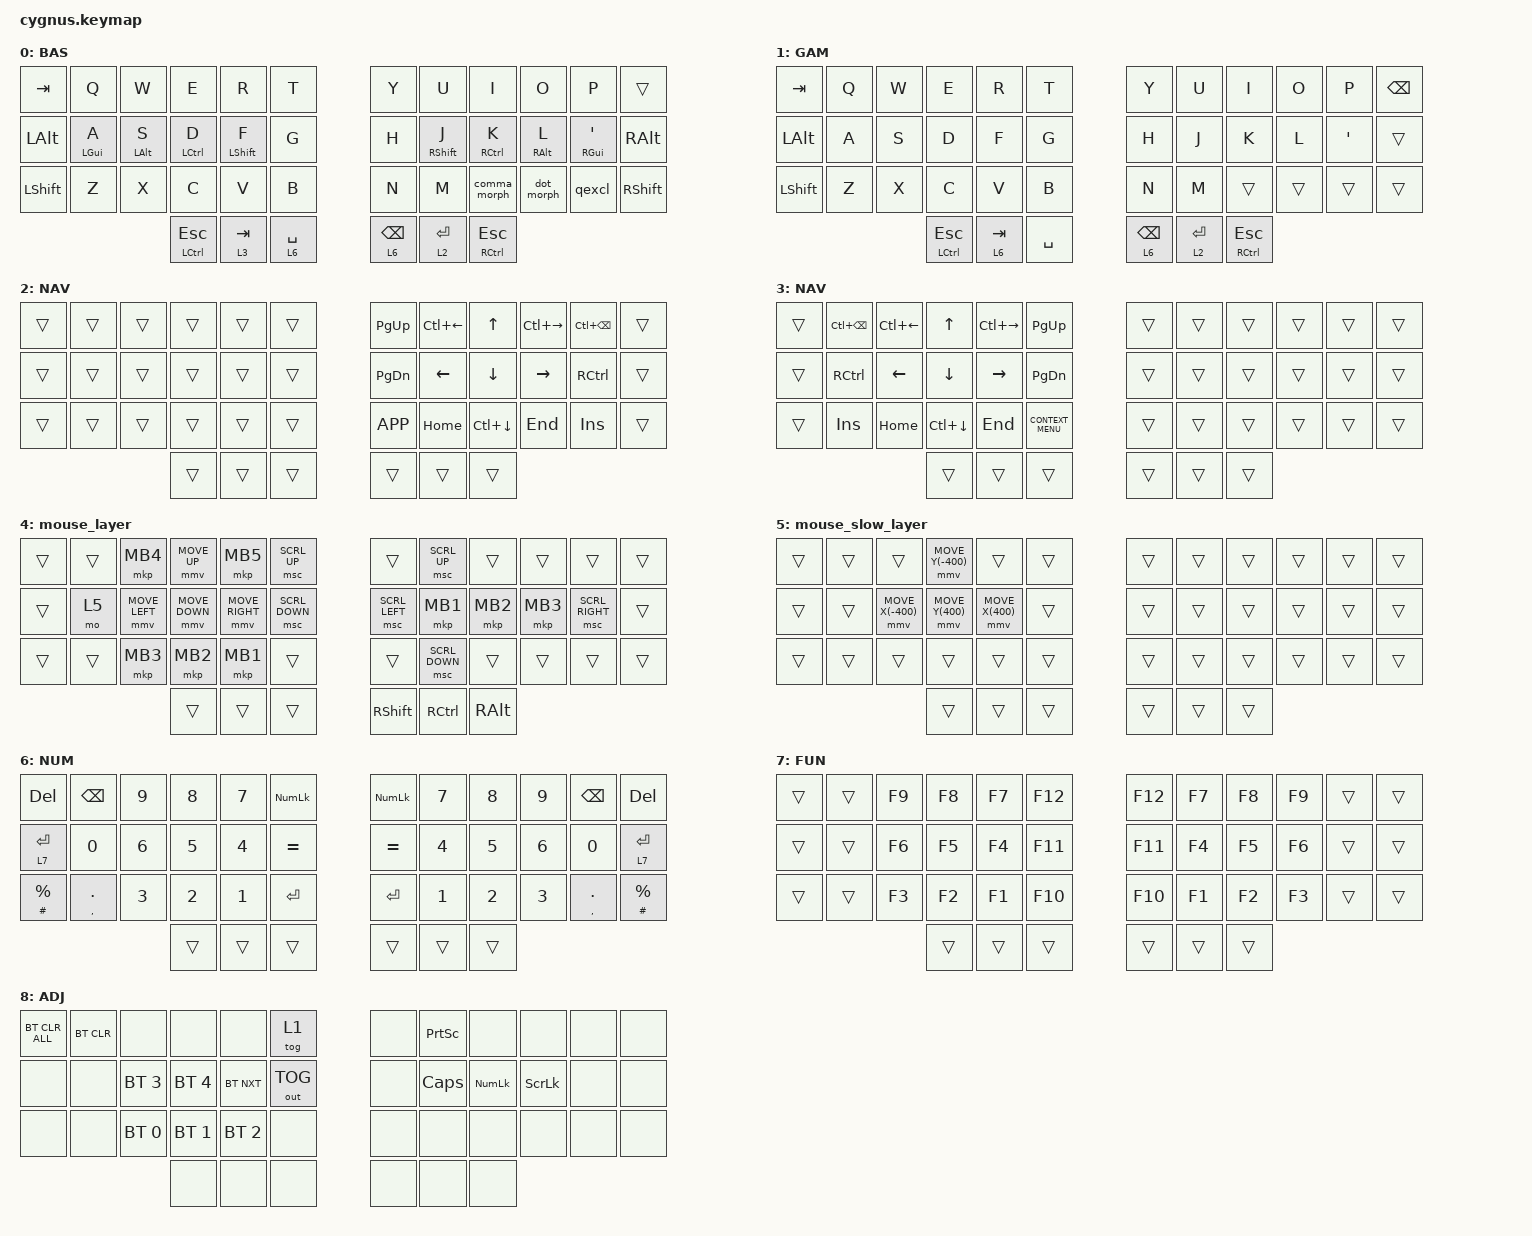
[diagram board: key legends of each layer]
/*
 * Copyright (c) 2020 The ZMK Contributors
 *
 * SPDX-License-Identifier: MIT
 */

#include <behaviors.dtsi>
#include <dt-bindings/zmk/bt.h>
#include <dt-bindings/zmk/keys.h>
#include <dt-bindings/zmk/outputs.h>
#include <dt-bindings/zmk/pointing.h>

/ {
    behaviors {
        hml: homerow_mods_left {
            compatible = "zmk,behavior-hold-tap";
            label = "HOMEROW_MODS_LEFT";
            bindings = <&kp>, <&kp>;

            #binding-cells = <2>;
            tapping-term-ms = <150>;
            hold-trigger-key-positions = <6 7 8 9 10 11 18 19 20 22 23 30 31 32 33 34 35 40 41 39 21>;
            flavor = "tap-preferred";
        };

        hmr: homerow_mods_right {
            compatible = "zmk,behavior-hold-tap";
            label = "HOMEROW_MODS_RIGHT";
            bindings = <&kp>, <&kp>;

            #binding-cells = <2>;
            tapping-term-ms = <150>;
            hold-trigger-key-positions = <0 1 2 3 4 5 12 13 14 15 16 17 24 25 26 27 28 29 36 37 38>;
            flavor = "tap-preferred";
        };

        layer_tap_quick: layer_tap_quick {
            compatible = "zmk,behavior-hold-tap";
            label = "LAYER_TAP_QUICK";
            bindings = <&mo>, <&kp>;

            #binding-cells = <2>;
            tapping-term-ms = <200>;
            quick-tap-ms = <200>;
            flavor = "tap-preferred";
        };

        qexcl: qexcl {
            compatible = "zmk,behavior-mod-morph";
            label = "QEXCL";
            bindings = <&kp QUESTION>, <&kp EXCLAMATION>;

            #binding-cells = <0>;
            mods = <(MOD_LSFT|MOD_RSFT)>;
        };

        comma_morph: comma_morph {
            compatible = "zmk,behavior-mod-morph";
            label = "COMMA_MORPH";
            bindings = <&kp COMMA>, <&kp SEMI>;

            #binding-cells = <0>;
            mods = <(MOD_LSFT|MOD_RSFT)>;
        };

        dot_morph: dot_morph {
            compatible = "zmk,behavior-mod-morph";
            label = "DOT_MORPH";
            bindings = <&kp PERIOD>, <&kp COLON>;

            #binding-cells = <0>;
            mods = <(MOD_LSFT|MOD_RSFT)>;
        };

        lpar_morph: lpar_morph {
            compatible = "zmk,behavior-mod-morph";
            label = "LPAR_MORPH";
            bindings = <&kp LEFT_PARENTHESIS>, <&kp LESS_THAN>;

            #binding-cells = <0>;
            mods = <(MOD_LSFT|MOD_RSFT)>;
        };

        rpar_morph: rpar_morph {
            compatible = "zmk,behavior-mod-morph";
            label = "RPAR_MORPH";
            bindings = <&kp RIGHT_PARENTHESIS>, <&kp GREATER_THAN>;

            #binding-cells = <0>;
            mods = <(MOD_LSFT|MOD_RSFT)>;
        };

        homerow_gui_left: homerow_gui_left {
            compatible = "zmk,behavior-hold-tap";
            label = "HOMEROW_GUI_LEFT";
            bindings = <&kp>, <&kp>;

            #binding-cells = <2>;
            tapping-term-ms = <280>;
            require-prior-idle-ms = <150>;
            flavor = "tap-preferred";
            hold-trigger-key-positions = <6 7 8 9 10 11 18 19 20 21 22 23 30 31 32 33 34 35 39 40 41>;
        };

        homerow_gui_right: homerow_gui_right {
            compatible = "zmk,behavior-hold-tap";
            label = "HOMEROW_GUI_RIGHT";
            bindings = <&kp>, <&kp>;

            #binding-cells = <2>;
            tapping-term-ms = <280>;
            require-prior-idle-ms = <150>;
            flavor = "tap-preferred";
            hold-trigger-key-positions = <0 1 2 3 4 5 12 13 14 15 16 17 24 25 26 27 28 29 36 37 38>;
        };
    };

    combos {
        compatible = "zmk,combos";

        left-num-plus {
            bindings = <&kp PLUS>;
            key-positions = <4 16>;
            layers = <6>;
        };

        left-num-minus {
            bindings = <&kp MINUS>;
            key-positions = <28 16>;
            layers = <6>;
        };

        left-num-multiply {
            bindings = <&kp STAR>;
            key-positions = <15 3>;
            layers = <6>;
        };

        left-num-divide {
            bindings = <&kp SLASH>;
            key-positions = <27 15>;
            layers = <6>;
        };

        left-num-dollar {
            bindings = <&kp DOLLAR>;
            key-positions = <5 17>;
            layers = <6>;
        };

        left-num-underscore {
            bindings = <&kp UNDER>;
            key-positions = <17 29>;
            layers = <6>;
        };

        right-num-dollar {
            bindings = <&kp DOLLAR>;
            key-positions = <6 18>;
            layers = <6>;
        };

        right-num-underscore {
            bindings = <&kp UNDER>;
            key-positions = <18 30>;
            layers = <6>;
        };

        dollar {
            bindings = <&kp DOLLAR>;
            key-positions = <16 4>;
        };

        percent {
            bindings = <&kp PERCENT>;
            key-positions = <17 5>;
        };

        underscore {
            bindings = <&kp UNDER>;
            key-positions = <30 18>;
            layers = <0>;
        };

        caret {
            bindings = <&kp CARET>;
            key-positions = <18 6>;
        };

        tilde {
            bindings = <&kp TILDE>;
            key-positions = <29 17>;
        };

        equal {
            bindings = <&kp EQUAL>;
            key-positions = <28 16>;
        };

        backslash {
            bindings = <&kp BACKSLASH>;
            key-positions = <27 15>;
        };

        pound {
            bindings = <&kp POUND>;
            key-positions = <15 3>;
        };

        at {
            bindings = <&kp AT>;
            key-positions = <14 2>;
        };

        grave {
            bindings = <&kp GRAVE>;
            key-positions = <26 14>;
        };

        plus {
            bindings = <&kp PLUS>;
            key-positions = <19 7>;
        };

        minus {
            bindings = <&kp MINUS>;
            key-positions = <31 19>;
        };

        star {
            bindings = <&kp STAR>;
            key-positions = <20 8>;
        };

        forwardslash {
            bindings = <&kp SLASH>;
            key-positions = <32 20>;
        };

        ampersand {
            bindings = <&kp AMPS>;
            key-positions = <21 9>;
        };

        pipe {
            bindings = <&kp PIPE>;
            key-positions = <21 33>;
        };

        left_parenthesis {
            bindings = <&lpar_morph>;
            key-positions = <19 20>;
        };

        right_parenthesis {
            bindings = <&rpar_morph>;
            key-positions = <20 21>;
        };

        left_bracket {
            bindings = <&kp LEFT_BRACKET>;
            key-positions = <31 32>;
        };

        right_bracket {
            bindings = <&kp RIGHT_BRACKET>;
            key-positions = <32 33>;
        };

        ctrl-alt-del {
            bindings = <&kp LC(LA(DEL))>;
            key-positions = <2 3 4>;
        };

        ctrl-shift-s {
            bindings = <&kp LC(LS(S))>;
            key-positions = <3 4>;
        };

        shift-win-s {
            bindings = <&kp LS(LG(S))>;
            key-positions = <2 3>;
        };

        left-enter {
            bindings = <&kp ENTER>;
            key-positions = <29 38>;
        };

        right-enter {
            bindings = <&kp ENTER>;
            key-positions = <30 39>;
        };

        left-calc {
            bindings = <&kp C_AL_CALC>;
            key-positions = <16 15 14>;
            layers = <6>;
        };

        right-calc {
            bindings = <&kp C_AL_CALC>;
            key-positions = <19 20 21>;
            layers = <6>;
        };
    };

    keymap {
        compatible = "zmk,keymap";

        default_layer {
            display-name = "BAS";

            // -----------------------------------------------------------------------------------------
            // |  TAB |  Q  |  W  |  E  |  R  |  T  |   |  Y  |  U   |  I  |  O  |  P  | BKSP |
            // | CTRL |  A  |  S  |  D  |  F  |  G  |   |  H  |  J   |  K  |  L  |  ;  |  '   |
            // | SHFT |  Z  |  X  |  C  |  V  |  B  |   |  N  |  M   |  ,  |  .  |  /  | ESC  |
            //                    | GUI | LWR | ENT |   | SPC | RSE  | ALT |

            bindings = <
&kp TAB       &kp Q                         &kp W            &kp E             &kp R              &kp T          &kp Y                         &kp U               &kp I             &kp O             &kp P                             &trans
&kp LEFT_ALT  &homerow_gui_left LEFT_GUI A  &hml LEFT_ALT S  &hml LCTRL D      &hml LEFT_SHIFT F  &kp G          &kp H                         &hmr RIGHT_SHIFT J  &hmr RCTRL K      &hmr RIGHT_ALT L  &homerow_gui_right RIGHT_GUI SQT  &kp RIGHT_ALT
&kp LSHFT     &kp Z                         &kp X            &kp C             &kp V              &kp B          &kp N                         &kp M               &comma_morph      &dot_morph        &qexcl                            &kp RIGHT_SHIFT
                                                             &mt LCTRL ESCAPE  &lt 3 TAB          &lt 6 SPACE    &layer_tap_quick 6 BACKSPACE  &lt 2 ENTER         &mt RCTRL ESCAPE
            >;
        };

        game_layer {
            display-name = "GAM";
            bindings = <
&kp TAB       &kp Q  &kp W  &kp E             &kp R      &kp T        &kp Y            &kp U        &kp I             &kp O   &kp P    &kp BSPC
&kp LEFT_ALT  &kp A  &kp S  &kp D             &kp F      &kp G        &kp H            &kp J        &kp K             &kp L   &kp SQT  &trans
&kp LSHFT     &kp Z  &kp X  &kp C             &kp V      &kp B        &kp N            &kp M        &trans            &trans  &trans   &trans
                            &mt LCTRL ESCAPE  &lt 6 TAB  &kp SPACE    &lt 6 BACKSPACE  &lt 2 ENTER  &mt RCTRL ESCAPE
            >;
        };

        nav_layer_right {
            display-name = "NAV";

            // -----------------------------------------------------------------------------------------
            // |  TAB |  !  |  @  |  #  |  $  |  %  |   |  ^  |  &  |  *  |  (  |  )  | BKSP |
            // | CTRL |     |     |     |     |     |   |  -  |  =  |  [  |  ]  |  \  |  `   |
            // | SHFT |     |     |     |     |     |   |  _  |  +  |  {  |  }  | "|" |  ~   |
            //                    | GUI |     | SPC |   | ENT |     | ALT |

            bindings = <
&trans  &trans  &trans  &trans  &trans  &trans    &kp PG_UP      &kp LC(LEFT)  &kp UP        &kp LC(RIGHT)  &kp LC(BSPC)  &trans
&trans  &trans  &trans  &trans  &trans  &trans    &kp PAGE_DOWN  &kp LEFT      &kp DOWN      &kp RIGHT      &kp RCTRL     &trans
&trans  &trans  &trans  &trans  &trans  &trans    &kp K_APP      &kp HOME      &kp LC(DOWN)  &kp END        &kp INSERT    &trans
                        &trans  &trans  &trans    &trans         &trans        &trans
            >;
        };

        nav_layer_left {
            display-name = "NAV";
            bindings = <
&trans  &kp LC(BSPC)  &kp LC(LEFT)  &kp UP          &kp LC(RIGHT)    &kp PG_UP             &trans  &trans  &trans  &trans  &trans  &trans
&trans  &kp RCTRL     &kp LEFT      &kp DOWN_ARROW  &kp RIGHT_ARROW  &kp PG_DN             &trans  &trans  &trans  &trans  &trans  &trans
&trans  &kp INS       &kp HOME      &kp LC(DOWN)    &kp END          &kp K_CONTEXT_MENU    &trans  &trans  &trans  &trans  &trans  &trans
                                    &trans          &trans           &trans                &trans  &trans  &trans
            >;
        };

        mouse_layer {
            bindings = <
&trans  &trans  &mkp MB4        &mmv MOVE_UP    &mkp MB5         &msc SCRL_UP      &trans           &msc SCRL_UP       &trans         &trans    &trans           &trans
&trans  &mo 5   &mmv MOVE_LEFT  &mmv MOVE_DOWN  &mmv MOVE_RIGHT  &msc SCRL_DOWN    &msc SCRL_LEFT   &mkp MB1           &mkp MB2       &mkp MB3  &msc SCRL_RIGHT  &trans
&trans  &trans  &mkp MB3        &mkp MB2        &mkp MB1         &trans            &trans           &msc SCRL_DOWN     &trans         &trans    &trans           &trans
                                &trans          &trans           &trans            &kp RIGHT_SHIFT  &kp RIGHT_CONTROL  &kp RIGHT_ALT
            >;
        };

        mouse_slow_layer {
            bindings = <
&trans  &trans  &trans             &mmv MOVE_Y(-400)  &trans            &trans    &trans  &trans  &trans  &trans  &trans  &trans
&trans  &trans  &mmv MOVE_X(-400)  &mmv MOVE_Y(400)   &mmv MOVE_X(400)  &trans    &trans  &trans  &trans  &trans  &trans  &trans
&trans  &trans  &trans             &trans             &trans            &trans    &trans  &trans  &trans  &trans  &trans  &trans
                                   &trans             &trans            &trans    &trans  &trans  &trans
            >;
        };

        num_layer {
            display-name = "NUM";
            bindings = <
&kp DEL           &kp BACKSPACE     &kp N9  &kp N8  &kp N7  &kp KP_NUMLOCK    &kp KP_NUMLOCK  &kp N7  &kp N8  &kp N9  &kp BACKSPACE     &kp DEL
&lt 7 ENTER       &kp N0            &kp N6  &kp N5  &kp N4  &kp EQUAL         &kp EQUAL       &kp N4  &kp N5  &kp N6  &kp N0            &lt 7 ENTER
&mt HASH PERCENT  &mt COMMA PERIOD  &kp N3  &kp N2  &kp N1  &kp ENTER         &kp ENTER       &kp N1  &kp N2  &kp N3  &mt COMMA PERIOD  &mt POUND PERCENT
                                            &trans  &trans  &trans            &trans          &trans  &trans
            >;
        };

        f_layer {
            display-name = "FUN";
            bindings = <
&trans  &trans  &kp F9  &kp F8  &kp F7  &kp F12    &kp F12  &kp F7  &kp F8  &kp F9  &trans  &trans
&trans  &trans  &kp F6  &kp F5  &kp F4  &kp F11    &kp F11  &kp F4  &kp F5  &kp F6  &trans  &trans
&trans  &trans  &kp F3  &kp F2  &kp F1  &kp F10    &kp F10  &kp F1  &kp F2  &kp F3  &trans  &trans
                        &trans  &trans  &trans     &trans   &trans  &trans
            >;
        };

        adjust_layer {
            display-name = "ADJ";

            // -----------------------------------------------------------------------------------------
            // |  TAB |  1  |  2  |  3  |  4  |  5  |   |  6  |  7  |  8  |  9  |  0  | BKSP |
            // | BTCLR| BT1 | BT2 | BT3 | BT4 | BT5 |   | LFT | DWN |  UP | RGT |     |      |
            // | SHFT |     |     |     |     |     |   |     |     |     |     |     |      |
            //                    | GUI |     | SPC |   | ENT |     | ALT |

            bindings = <
&bt BT_CLR_ALL  &bt BT_CLR  &none         &none         &none         &tog 1          &none  &kp PRINTSCREEN  &none           &none           &none  &none
&none           &none       &bt BT_SEL 3  &bt BT_SEL 4  &bt BT_NXT    &out OUT_TOG    &none  &kp CLCK         &kp KP_NUMLOCK  &kp SCROLLLOCK  &none  &none
&none           &none       &bt BT_SEL 0  &bt BT_SEL 1  &bt BT_SEL 2  &none           &none  &none            &none           &none           &none  &none
                                          &none         &none         &none           &none  &none            &none
            >;
        };
    };

    conditional_layers {
        compatible = "zmk,conditional-layers";

        game_adj {
            if-layers = <2 6>;
            then-layer = <8>;
        };

        Adjust {
            if-layers = <2 3>;
            then-layer = <8>;
        };
    };
};
